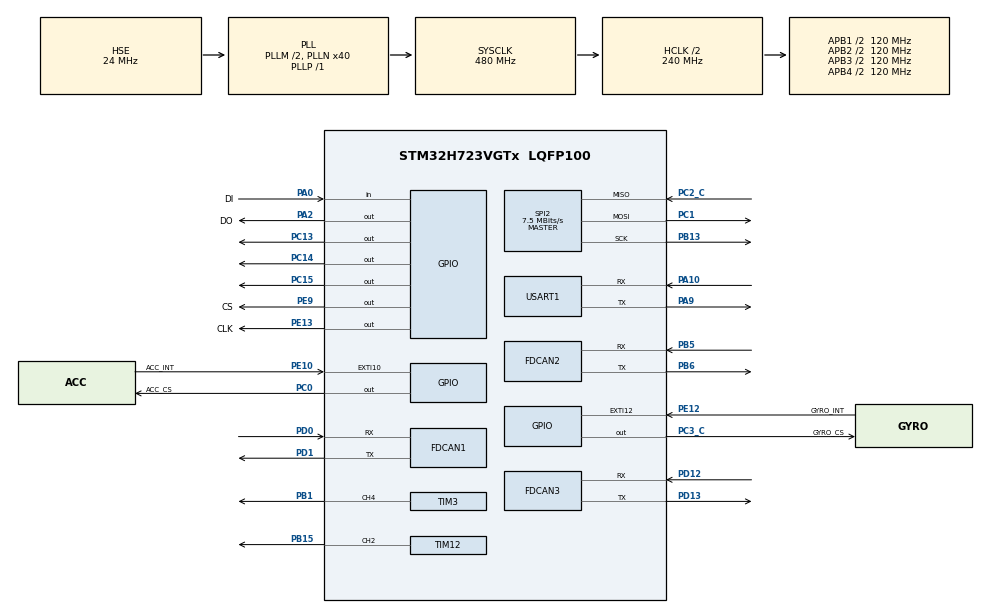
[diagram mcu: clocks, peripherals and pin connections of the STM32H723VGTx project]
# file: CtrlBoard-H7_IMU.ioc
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Dma.Request0=SPI2_RX
Dma.Request1=SPI2_TX
Dma.SPI2_RX.0.Direction=DMA_PERIPH_TO_MEMORY
Dma.SPI2_RX.0.EventEnable=DISABLE
Dma.SPI2_RX.0.FIFOMode=DMA_FIFOMODE_DISABLE
Dma.SPI2_RX.0.Instance=DMA1_Stream0
Dma.SPI2_RX.0.MemDataAlignment=DMA_MDATAALIGN_BYTE
Dma.SPI2_RX.0.MemInc=DMA_MINC_ENABLE
Dma.SPI2_RX.0.Mode=DMA_NORMAL
Dma.SPI2_RX.0.PeriphDataAlignment=DMA_PDATAALIGN_BYTE
Dma.SPI2_RX.0.PeriphInc=DMA_PINC_DISABLE
Dma.SPI2_RX.0.Polarity=HAL_DMAMUX_REQ_GEN_RISING
Dma.SPI2_RX.0.Priority=DMA_PRIORITY_VERY_HIGH
Dma.SPI2_RX.0.RequestNumber=1
Dma.SPI2_RX.0.SignalID=NONE
Dma.SPI2_RX.0.SyncEnable=DISABLE
Dma.SPI2_RX.0.SyncPolarity=HAL_DMAMUX_SYNC_NO_EVENT
Dma.SPI2_RX.0.SyncRequestNumber=1
Dma.SPI2_RX.0.SyncSignalID=NONE
Dma.SPI2_TX.1.Direction=DMA_MEMORY_TO_PERIPH
Dma.SPI2_TX.1.EventEnable=DISABLE
Dma.SPI2_TX.1.FIFOMode=DMA_FIFOMODE_DISABLE
Dma.SPI2_TX.1.Instance=DMA1_Stream1
Dma.SPI2_TX.1.MemDataAlignment=DMA_MDATAALIGN_BYTE
Dma.SPI2_TX.1.MemInc=DMA_MINC_ENABLE
Dma.SPI2_TX.1.Mode=DMA_NORMAL
Dma.SPI2_TX.1.PeriphDataAlignment=DMA_PDATAALIGN_BYTE
Dma.SPI2_TX.1.PeriphInc=DMA_PINC_DISABLE
Dma.SPI2_TX.1.Polarity=HAL_DMAMUX_REQ_GEN_RISING
Dma.SPI2_TX.1.Priority=DMA_PRIORITY_HIGH
Dma.SPI2_TX.1.RequestNumber=1
Dma.SPI2_TX.1.SignalID=NONE
Dma.SPI2_TX.1.SyncEnable=DISABLE
Dma.SPI2_TX.1.SyncPolarity=HAL_DMAMUX_SYNC_NO_EVENT
Dma.SPI2_TX.1.SyncRequestNumber=1
Dma.SPI2_TX.1.SyncSignalID=NONE
FDCAN1.CalculateBaudRateNominal=1000000
FDCAN1.CalculateTimeBitNominal=1000
FDCAN1.CalculateTimeQuantumNominal=40.0
FDCAN1.DataPrescaler=5
FDCAN1.DataTimeSeg1=14
FDCAN1.DataTimeSeg2=5
FDCAN1.ExtFiltersNbr=5
FDCAN1.MessageRAMOffset=1709
FDCAN1.NominalPrescaler=4
FDCAN1.NominalTimeSeg1=19
FDCAN1.NominalTimeSeg2=5
FDCAN1.RxFifo0ElmtSize=FDCAN_DATA_BYTES_24
FDCAN1.RxFifo0ElmtsNbr=2
FDCAN1.RxFifo1ElmtSize=FDCAN_DATA_BYTES_24
FDCAN1.StdFiltersNbr=5
FDCAN1.TxElmtSize=FDCAN_DATA_BYTES_24
FDCAN1.TxFifoQueueElmtsNbr=8
FDCAN2.CalculateBaudRateNominal=1000000
FDCAN2.CalculateTimeBitNominal=1000
FDCAN2.CalculateTimeQuantumNominal=50.0
FDCAN2.DataPrescaler=5
FDCAN2.DataTimeSeg1=14
FDCAN2.DataTimeSeg2=5
FDCAN2.ExtFiltersNbr=5
FDCAN2.MessageRAMOffset=854
FDCAN2.NominalPrescaler=5
FDCAN2.NominalTimeSeg1=14
FDCAN2.NominalTimeSeg2=5
FDCAN2.RxFifo1ElmtSize=FDCAN_DATA_BYTES_24
FDCAN2.RxFifo1ElmtsNbr=4
FDCAN2.StdFiltersNbr=5
FDCAN2.TxElmtSize=FDCAN_DATA_BYTES_16
FDCAN2.TxFifoQueueElmtsNbr=4
FDCAN3.CalculateBaudRateNominal=1000000
FDCAN3.CalculateTimeBitNominal=1000
FDCAN3.CalculateTimeQuantumNominal=50.0
FDCAN3.DataPrescaler=5
FDCAN3.DataTimeSeg1=14
FDCAN3.DataTimeSeg2=5
FDCAN3.ExtFiltersNbr=5
FDCAN3.MessageRAMOffset=1709
FDCAN3.NominalPrescaler=5
FDCAN3.NominalTimeSeg1=14
FDCAN3.NominalTimeSeg2=5
FDCAN3.RxFifo0ElmtsNbr=2
FDCAN3.StdFiltersNbr=5
FDCAN3.TxFifoQueueElmtsNbr=3
FREERTOS.MEMORY_ALLOCATION=0
FREERTOS.Tasks01=defaultTask,0,128,StartDefaultTask,Default,NULL,Dynamic,NULL,NULL;INS_TASK,3,512,INS_Task,Default,NULL,Dynamic,NULL,NULL;CHASSISR_TASK,1,512,ChassisR_Task,Default,NULL,Dynamic,NULL,NULL;CHASSISL_TASK,1,512,ChassisL_Task,Default,NULL,Dynamic,NULL,NULL;OBSERVE_TASK,2,512,OBSERVE_Task,Default,NULL,Dynamic,NULL,NULL;PS2_TASK,1,128,PS2_Task,Default,NULL,Dynamic,NULL,NULL
FREERTOS.configENABLE_FPU=1
FREERTOS.configTOTAL_HEAP_SIZE=30720
Mcu.Family=STM32H7
Mcu.Name=STM32H723VGTx
Mcu.Package=LQFP100
NVIC.DMA1_Stream0_IRQn=true\:6\:0\:true\:false\:true\:true\:false\:true\:true
NVIC.DMA1_Stream1_IRQn=true\:6\:0\:true\:false\:true\:true\:false\:true\:true
NVIC.FDCAN1_IT0_IRQn=true\:6\:0\:true\:false\:true\:true\:true\:true\:true
NVIC.FDCAN2_IT0_IRQn=true\:5\:0\:true\:false\:true\:true\:true\:true\:true
NVIC.FDCAN3_IT0_IRQn=true\:5\:0\:false\:false\:true\:true\:true\:true\:true
NVIC.PriorityGroup=NVIC_PRIORITYGROUP_4
NVIC.SPI2_IRQn=true\:5\:0\:true\:false\:true\:true\:false\:true\:true
NVIC.TIM2_IRQn=true\:15\:0\:false\:false\:true\:false\:false\:true\:true
NVIC.TimeBase=TIM2_IRQn
NVIC.TimeBaseIP=TIM2
NVIC.USART1_IRQn=true\:5\:0\:false\:false\:true\:true\:true\:true\:true
PA0.GPIO_Label=DI
PA0.GPIO_PuPd=GPIO_PULLUP
PA0.Signal=GPIO_Input
PA10.Mode=Asynchronous
PA10.Signal=USART1_RX
PA13(JTMS/SWDIO).Mode=Serial_Wire
PA13(JTMS/SWDIO).Signal=DEBUG_JTMS-SWDIO
PA14(JTCK/SWCLK).Mode=Serial_Wire
PA14(JTCK/SWCLK).Signal=DEBUG_JTCK-SWCLK
PA2.GPIO_Label=DO
PA2.GPIO_PuPd=GPIO_PULLUP
PA2.GPIO_Speed=GPIO_SPEED_FREQ_VERY_HIGH
PA2.PinState=GPIO_PIN_SET
PA2.Signal=GPIO_Output
PA9.Mode=Asynchronous
PA9.Signal=USART1_TX
PB1.Signal=S_TIM3_CH4
PB13.GPIO_Speed=GPIO_SPEED_FREQ_VERY_HIGH
PB13.Mode=Full_Duplex_Master
PB13.Signal=SPI2_SCK
PB15.Signal=S_TIM12_CH2
PB5.Mode=FDCAN_Activate
PB5.Signal=FDCAN2_RX
PB6.Mode=FDCAN_Activate
PB6.Signal=FDCAN2_TX
PC0.GPIO_Label=ACC_CS
PC0.GPIO_Speed=GPIO_SPEED_FREQ_VERY_HIGH
PC0.PinState=GPIO_PIN_SET
PC0.Signal=GPIO_Output
PC1.GPIO_Speed=GPIO_SPEED_FREQ_VERY_HIGH
PC1.Mode=Full_Duplex_Master
PC1.Signal=SPI2_MOSI
PC13.Signal=GPIO_Output
PC14-OSC32_IN.Signal=GPIO_Output
PC15-OSC32_OUT.Signal=GPIO_Output
PC2_C.GPIO_Speed=GPIO_SPEED_FREQ_VERY_HIGH
PC2_C.Mode=Full_Duplex_Master
PC2_C.Signal=SPI2_MISO
PC3_C.GPIO_Label=GYRO_CS
PC3_C.GPIO_Speed=GPIO_SPEED_FREQ_VERY_HIGH
PC3_C.PinState=GPIO_PIN_SET
PC3_C.Signal=GPIO_Output
PD0.Mode=FDCAN_Activate
PD0.Signal=FDCAN1_RX
PD1.Mode=FDCAN_Activate
PD1.Signal=FDCAN1_TX
PD12.Mode=FDCAN_Activate
PD12.Signal=FDCAN3_RX
PD13.Mode=FDCAN_Activate
PD13.Signal=FDCAN3_TX
PE10.GPIO_Label=ACC_INT
PE10.Signal=GPXTI10
PE12.GPIO_Label=GYRO_INT
PE12.Signal=GPXTI12
PE13.GPIO_Label=CLK
PE13.GPIO_PuPd=GPIO_PULLUP
PE13.GPIO_Speed=GPIO_SPEED_FREQ_VERY_HIGH
PE13.PinState=GPIO_PIN_SET
PE13.Signal=GPIO_Output
PE9.GPIO_Label=CS
PE9.GPIO_PuPd=GPIO_PULLUP
PE9.GPIO_Speed=GPIO_SPEED_FREQ_VERY_HIGH
PE9.PinState=GPIO_PIN_SET
PE9.Signal=GPIO_Output
PH0-OSC_IN.Mode=HSE-External-Oscillator
PH0-OSC_IN.Signal=RCC_OSC_IN
PH1-OSC_OUT.Mode=HSE-External-Oscillator
PH1-OSC_OUT.Signal=RCC_OSC_OUT
ProjectManager.HeapSize=0x200
ProjectManager.StackSize=0x800
ProjectManager.TargetToolchain=MDK-ARM V5.27
RCC.ADCFreq_Value=100000000
RCC.APB1Freq_Value=120000000
RCC.APB2Freq_Value=120000000
RCC.APB3Freq_Value=120000000
RCC.APB4Freq_Value=120000000
RCC.CortexFreq_Value=480000000
RCC.D1PPRE=RCC_APB3_DIV2
RCC.D2PPRE1=RCC_APB1_DIV2
RCC.D2PPRE2=RCC_APB2_DIV2
RCC.D3PPRE=RCC_APB4_DIV2
RCC.DIVM1=2
RCC.DIVM2=24
RCC.DIVN1=40
RCC.DIVN2=200
RCC.DIVP1=1
RCC.FDCANCLockSelection=RCC_FDCANCLKSOURCE_PLL2
RCC.HCLKFreq_Value=240000000
RCC.HPRE=RCC_HCLK_DIV2
RCC.HSE_VALUE=24000000
RCC.PLL2FRACN=0
RCC.PLL3FRACN=0
RCC.PLLFRACN=0
RCC.PLLSourceVirtual=RCC_PLLSOURCE_HSE
RCC.SYSCLKFreq_VALUE=480000000
RCC.SYSCLKSource=RCC_SYSCLKSOURCE_PLLCLK
RCC.USBFreq_Value=240000000
SH.S_TIM12_CH2.0=TIM12_CH2,PWM Generation2 CH2
SH.S_TIM3_CH4.0=TIM3_CH4,PWM Generation4 CH4
SPI2.BaudRatePrescaler=SPI_BAUDRATEPRESCALER_32
SPI2.CLKPhase=SPI_PHASE_2EDGE
SPI2.CLKPolarity=SPI_POLARITY_HIGH
SPI2.CalculateBaudRate=7.5 MBits/s
SPI2.DataSize=SPI_DATASIZE_8BIT
SPI2.Direction=SPI_DIRECTION_2LINES
SPI2.Mode=SPI_MODE_MASTER
SPI2.VirtualType=VM_MASTER
TIM12.Channel-PWM\ Generation2\ CH2=TIM_CHANNEL_2
TIM12.Period=2000-1
TIM12.Prescaler=24-1
TIM12.Pulse-PWM\ Generation2\ CH2=1000
TIM3.AutoReloadPreload=TIM_AUTORELOAD_PRELOAD_ENABLE
TIM3.Channel-PWM\ Generation4\ CH4=TIM_CHANNEL_4
TIM3.Period=10000-1
TIM3.Prescaler=24-1
USART1.VirtualMode-Asynchronous=VM_ASYNC
VP_FREERTOS_VS_CMSIS_V1.Mode=CMSIS_V1
VP_SYS_VS_tim2.Mode=TIM2
board=custom

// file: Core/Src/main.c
/* USER CODE BEGIN Header */
/**
  ******************************************************************************
  * @file           : main.c
  * @brief          : Main program body for DM-jump Wheeled-Bipedal Robot
  * @author         : Trần Nguyên Bình
  * @email          : trannguyenbinh.shark@gmail.com
  * @website        : https://nguyenbinh-shark.github.io/
  * @version        : 1.0.0
  * @date           : 2024-2026
  ******************************************************************************
  * @attention
  *
  * Copyright (c) 2024-2026 Trần Nguyên Bình & STMicroelectronics.
  * All rights reserved.
  *
  * This software is licensed under terms that can be found in the LICENSE file
  * in the root directory of this software component.
  *
  ******************************************************************************
  */
/* USER CODE END Header */
#include "main.h"
#include "cmsis_os.h"
#include "dma.h"
#include "fdcan.h"
#include "spi.h"
#include "tim.h"
#include "usart.h"
#include "gpio.h"

/* USER CODE BEGIN Includes */
#include "BMI088driver.h"
#include "kalman_filter.h"
#include "mahony_filter.h"
#include "bsp_dwt.h"
#include "BMI088Middleware.h"
#include "can_bsp.h"
#include "app_uart.h"

/* USER CODE END Includes */

void SystemClock_Config(void);
void PeriphCommonClock_Config(void);
void MX_FREERTOS_Init(void);

/* USER CODE BEGIN 0 */
extern uint8_t uart1_rx_byte;

/* USER CODE END 0 */

int main(void)
{

  /* MCU Configuration--------------------------------------------------------*/

  /* Reset of all peripherals, Initializes the Flash interface and the Systick. */
  HAL_Init();

  /* USER CODE BEGIN Init */
//06 01 00 00 00 00 00 00 00 00 00 00 00 00 80 3F
  /* USER CODE END Init */

  /* Configure the system clock */
  SystemClock_Config();

/* Configure the peripherals common clocks */
  PeriphCommonClock_Config();

  /* Initialize all configured peripherals */
  MX_GPIO_Init();
  MX_DMA_Init();
  MX_SPI2_Init();
  MX_FDCAN1_Init();
  MX_FDCAN2_Init();
  MX_TIM3_Init();
  MX_FDCAN3_Init();
  MX_USART1_UART_Init();
  MX_TIM12_Init();
  /* USER CODE BEGIN 2 */
	//HAL_TIM_PWM_Start(&htim12, TIM_CHANNEL_2);
	//TIM12->CCR2 = 50;
	DWT_Init(480);
    /* BMI088 initialization */
    //Previously, the accelerometer and gyroscope of the BMI088 have been calibrated, so there is no need to calibrate the relationship between them. Other hardware devices need to be calibrated
  while (BMI088_init(&hspi2, 0) != BMI088_NO_ERROR)
	{
	  ;
	}
	Power_OUT1_ON;//imu initialization complete, power on the power supply and led
	Power_OUT2_ON;
	Power_OUT5V_ON;

  FDCAN1_Config();//can initialization
	FDCAN2_Config();

  /* USER CODE END 2 */

  /* Call init function for freertos objects (in freertos.c) */
  MX_FREERTOS_Init();
	//uart_send_str("INS READY\r\n");
	//uart_send_str("ERROR SENSOR\r\n");
  /* Start scheduler */
  osKernelStart();
  /* We should never get here as control is now taken by the scheduler */
  /* Infinite loop */
  while (1)
  {

  }
}

void SystemClock_Config(void)
{
  RCC_OscInitTypeDef RCC_OscInitStruct = {0};
  RCC_ClkInitTypeDef RCC_ClkInitStruct = {0};

  /** Supply configuration update enable
  */
  HAL_PWREx_ConfigSupply(PWR_LDO_SUPPLY);

  /** Configure the main internal regulator output voltage
  */
  __HAL_PWR_VOLTAGESCALING_CONFIG(PWR_REGULATOR_VOLTAGE_SCALE0);

  while(!__HAL_PWR_GET_FLAG(PWR_FLAG_VOSRDY)) {}

  /** Initializes the RCC Oscillators according to the specified parameters
  * in the RCC_OscInitTypeDef structure.
  */
  RCC_OscInitStruct.OscillatorType = RCC_OSCILLATORTYPE_HSE;
  RCC_OscInitStruct.HSEState = RCC_HSE_ON;
  RCC_OscInitStruct.PLL.PLLState = RCC_PLL_ON;
  RCC_OscInitStruct.PLL.PLLSource = RCC_PLLSOURCE_HSE;
  RCC_OscInitStruct.PLL.PLLM = 2;
  RCC_OscInitStruct.PLL.PLLN = 40;
  RCC_OscInitStruct.PLL.PLLP = 1;
  RCC_OscInitStruct.PLL.PLLQ = 2;
  RCC_OscInitStruct.PLL.PLLR = 2;
  RCC_OscInitStruct.PLL.PLLRGE = RCC_PLL1VCIRANGE_3;
  RCC_OscInitStruct.PLL.PLLVCOSEL = RCC_PLL1VCOWIDE;
  RCC_OscInitStruct.PLL.PLLFRACN = 0;
  if (HAL_RCC_OscConfig(&RCC_OscInitStruct) != HAL_OK)
  {
    Error_Handler();
  }

  /** Initializes the CPU, AHB and APB buses clocks
  */
  RCC_ClkInitStruct.ClockType = RCC_CLOCKTYPE_HCLK|RCC_CLOCKTYPE_SYSCLK
                              |RCC_CLOCKTYPE_PCLK1|RCC_CLOCKTYPE_PCLK2
                              |RCC_CLOCKTYPE_D3PCLK1|RCC_CLOCKTYPE_D1PCLK1;
  RCC_ClkInitStruct.SYSCLKSource = RCC_SYSCLKSOURCE_PLLCLK;
  RCC_ClkInitStruct.SYSCLKDivider = RCC_SYSCLK_DIV1;
  RCC_ClkInitStruct.AHBCLKDivider = RCC_HCLK_DIV2;
  RCC_ClkInitStruct.APB3CLKDivider = RCC_APB3_DIV2;
  RCC_ClkInitStruct.APB1CLKDivider = RCC_APB1_DIV2;
  RCC_ClkInitStruct.APB2CLKDivider = RCC_APB2_DIV2;
  RCC_ClkInitStruct.APB4CLKDivider = RCC_APB4_DIV2;

  if (HAL_RCC_ClockConfig(&RCC_ClkInitStruct, FLASH_LATENCY_3) != HAL_OK)
  {
    Error_Handler();
  }
}

void PeriphCommonClock_Config(void)
{
  RCC_PeriphCLKInitTypeDef PeriphClkInitStruct = {0};

  /** Initializes the peripherals clock
  */
  PeriphClkInitStruct.PeriphClockSelection = RCC_PERIPHCLK_FDCAN;
  PeriphClkInitStruct.PLL2.PLL2M = 24;
  PeriphClkInitStruct.PLL2.PLL2N = 200;
  PeriphClkInitStruct.PLL2.PLL2P = 2;
  PeriphClkInitStruct.PLL2.PLL2Q = 2;
  PeriphClkInitStruct.PLL2.PLL2R = 2;
  PeriphClkInitStruct.PLL2.PLL2RGE = RCC_PLL2VCIRANGE_0;
  PeriphClkInitStruct.PLL2.PLL2VCOSEL = RCC_PLL2VCOMEDIUM;
  PeriphClkInitStruct.PLL2.PLL2FRACN = 0;
  PeriphClkInitStruct.FdcanClockSelection = RCC_FDCANCLKSOURCE_PLL2;
  if (HAL_RCCEx_PeriphCLKConfig(&PeriphClkInitStruct) != HAL_OK)
  {
    Error_Handler();
  }
}

void HAL_TIM_PeriodElapsedCallback(TIM_HandleTypeDef *htim)
{
  if (htim->Instance == TIM2) {
    HAL_IncTick();
  }
}

void Error_Handler(void)
{
  __disable_irq();
  while (1)
  {
  }
}

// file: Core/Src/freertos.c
/* USER CODE BEGIN Header */
/**
  ******************************************************************************
  * File Name          : freertos.c
  * Description        : Code for FreeRTOS task creation and initialization
  * @author            : Trần Nguyên Bình
  * @email             : trannguyenbinh.shark@gmail.com
  * @website           : https://nguyenbinh-shark.github.io/
  * @version           : 1.0.0
  * @date              : 2024-2026
  ******************************************************************************
  * @attention
  *
  * Copyright (c) 2024-2026 Trần Nguyên Bình & STMicroelectronics.
  * All rights reserved.
  *
  * This software is licensed under terms that can be found in the LICENSE file
  * in the root directory of this software component.
  *
  ******************************************************************************
  */
/* USER CODE END Header */

#include "FreeRTOS.h"
#include "task.h"
#include "main.h"
#include "cmsis_os.h"

/* USER CODE BEGIN Includes */
#include "INS_task.h"
#include "chassisR_task.h"
#include "chassisL_task.h"
#include "observe_task.h"
#include "ps2_task.h"
#include "app_uart.h"
#include "uart_control_task.h"
/* USER CODE END Includes */

osThreadId defaultTaskHandle;
osThreadId INS_TASKHandle;
osThreadId CHASSISR_TASKHandle;
osThreadId CHASSISL_TASKHandle;
osThreadId OBSERVE_TASKHandle;
osThreadId PS2_TASKHandle;
osThreadId UART_CONTROL_TASKHandle;

void StartDefaultTask(void const * argument);
void INS_Task(void const * argument);
void ChassisR_Task(void const * argument);
void ChassisL_Task(void const * argument);
void OBSERVE_Task(void const * argument);
void PS2_Task(void const * argument);
void UART_Control_Task_Wrapper(void const * argument);

void MX_FREERTOS_Init(void); /* (MISRA C 2004 rule 8.1) */

void MX_FREERTOS_Init(void) {

  /* USER CODE BEGIN RTOS_MUTEX */
  /* add mutexes, ... */
  uart_data_mutex = xSemaphoreCreateMutex();
	uart_tx_mutex = xSemaphoreCreateMutex();
  /* USER CODE END RTOS_MUTEX */

  /* USER CODE BEGIN RTOS_QUEUES */
  /* add queues, ... */
  uart1_rx_queue = xQueueCreate(64, sizeof(uint8_t));
  /* USER CODE END RTOS_QUEUES */

  /* Create the thread(s) */
  /* definition and creation of defaultTask */
  osThreadDef(defaultTask, StartDefaultTask, osPriorityNormal, 0, 128);
  defaultTaskHandle = osThreadCreate(osThread(defaultTask), NULL);

  /* definition and creation of INS_TASK */
  osThreadDef(INS_TASK, INS_Task, osPriorityRealtime, 0, 512);
  INS_TASKHandle = osThreadCreate(osThread(INS_TASK), NULL);

  /* definition and creation of CHASSISR_TASK */
  osThreadDef(CHASSISR_TASK, ChassisR_Task, osPriorityAboveNormal, 0, 512);
  CHASSISR_TASKHandle = osThreadCreate(osThread(CHASSISR_TASK), NULL);

  /* definition and creation of CHASSISL_TASK */
  osThreadDef(CHASSISL_TASK, ChassisL_Task, osPriorityAboveNormal, 0, 512);
  CHASSISL_TASKHandle = osThreadCreate(osThread(CHASSISL_TASK), NULL);

  /* definition and creation of OBSERVE_TASK */
  osThreadDef(OBSERVE_TASK, OBSERVE_Task, osPriorityHigh, 0, 512);
  OBSERVE_TASKHandle = osThreadCreate(osThread(OBSERVE_TASK), NULL);

  /* definition and creation of PS2_TASK */
  osThreadDef(PS2_TASK, PS2_Task, osPriorityAboveNormal, 0, 128);
  PS2_TASKHandle = osThreadCreate(osThread(PS2_TASK), NULL);

  /* USER CODE BEGIN RTOS_THREADS */
  /* add threads, ... */
  osThreadDef(UART_TASK,
            (os_pthread)UartTask,
            osPriorityAboveNormal,
            0,
            256);
  osThreadCreate(osThread(UART_TASK), NULL);

  /* definition and creation of UART_CONTROL_TASK */
  osThreadDef(UART_CONTROL_TASK, UART_Control_Task_Wrapper, osPriorityNormal, 0, 256);
  UART_CONTROL_TASKHandle = osThreadCreate(osThread(UART_CONTROL_TASK), NULL);
  /* USER CODE END RTOS_THREADS */

}

void StartDefaultTask(void const * argument)
{
  for(;;)
  {
    osDelay(1);
  }
}

void INS_Task(void const * argument)
{
  /* USER CODE BEGIN INS_Task */

  /* Infinite loop */
  for(;;)
  {
    INS_task();
  }
  /* USER CODE END INS_Task */
}

void ChassisR_Task(void const * argument)
{
  /* USER CODE BEGIN ChassisR_Task */
  /* Infinite loop */
  for(;;)
  {
    ChassisR_task();
  }
  /* USER CODE END ChassisR_Task */
}

void ChassisL_Task(void const * argument)
{
  /* USER CODE BEGIN ChassisL_Task */
  /* Infinite loop */
  for(;;)
  {
    ChassisL_task();
  }
  /* USER CODE END ChassisL_Task */
}

void OBSERVE_Task(void const * argument)
{
  /* USER CODE BEGIN OBSERVE_Task */
  /* Infinite loop */
  for(;;)
  {
    Observe_task();
  }
  /* USER CODE END OBSERVE_Task */
}

void PS2_Task(void const * argument)
{
  /* USER CODE BEGIN PS2_Task */
  /* Infinite loop */
  for(;;)
  {
    pstwo_task();
  }
  /* USER CODE END PS2_Task */
}

/* USER CODE BEGIN Application */

/* USER CODE BEGIN Header_UART_Control_Task */
/**
* @brief Function implementing the UART_CONTROL_TASK thread.
* @param argument: Not used
* @retval None
*/
/* USER CODE END Header_UART_Control_Task */
void UART_Control_Task_Wrapper(void const * argument)
{
  /* USER CODE BEGIN UART_Control_Task */
  /* Infinite loop */
  for(;;)
  {
    UART_Control_Task(argument);
  }
  /* USER CODE END UART_Control_Task */
}

/* USER CODE END Application */
